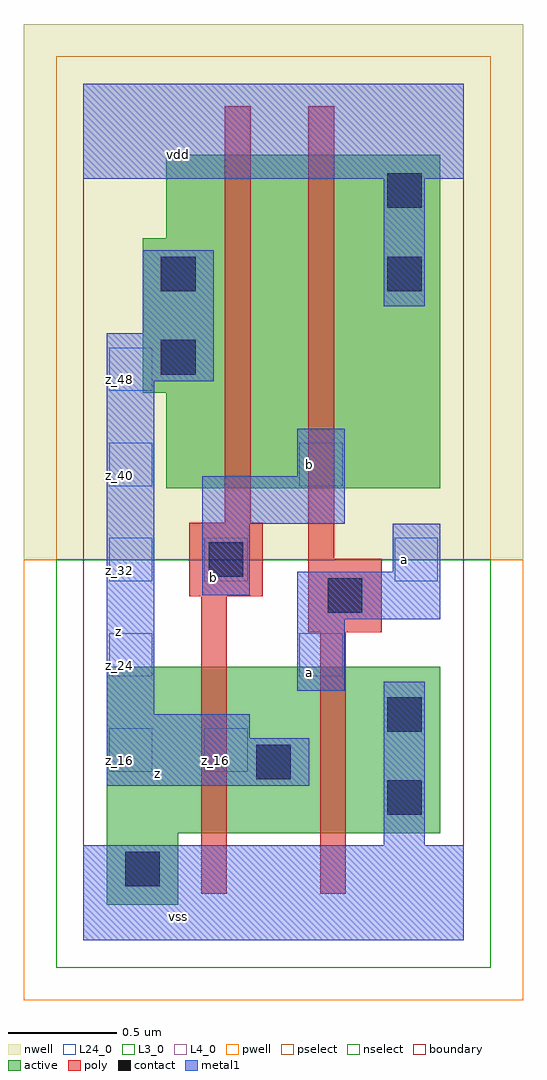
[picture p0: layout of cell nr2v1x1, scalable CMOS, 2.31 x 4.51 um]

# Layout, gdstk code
import gdstk
lib = gdstk.Library(unit=1e-6, precision=2.5e-09)
def R(c, l, rs):  # rectangles x0, y0, x1, y1
    for r in rs: c.add(gdstk.rectangle(r[:2], r[2:], *l))
def A(c, l, x, y, w, h, nx, ny, dx, dy):  # array of equal rectangles
    R(c, l, [(x+i*dx, y+j*dy, x+i*dx+w, y+j*dy+h) for i in range(nx) for j in range(ny)])
L3_0 = (3, 0)
L4_0 = (4, 0)
L24_0 = (24, 0)
contact = (25, 0)
pwell = (41, 0)
nwell = (42, 0)
active = (43, 0)
pselect = (44, 0)
nselect = (45, 0)
poly = (46, 0)
metal1 = (49, 0)
boundary = (63, 0)

nr2v1x1 = lib.new_cell('nr2v1x1')
R(nr2v1x1, L3_0, [(0.11,0.165,0.44,0.495), (0.11,0.495,1.65,1.265)])
R(nr2v1x1, L4_0, [(0.385,2.09,1.65,2.53), (0.275,2.53,1.65,3.245), (0.385,3.245,1.65,3.63)])
A(nr2v1x1, L24_0, 0.12, 0.78, 0.2, 0.2, 1, 5, 0, 0.44)
R(nr2v1x1, L24_0, [(0.56,0.78,0.76,0.98), (1,1.22,1.2,1.42), (0.56,1.66,0.76,1.86), (1.44,1.66,1.64,1.86), (1,2.1,1.2,2.3)])
R(nr2v1x1, contact, [(0.195,0.25,0.355,0.41), (1.405,0.58,1.565,0.74), (0.8,0.745,0.96,0.905), (1.405,0.965,1.565,1.125), (1.13,1.515,1.29,1.675), (0.58,1.68,0.74,1.84), (0.36,2.615,0.52,2.775), (0.36,3,0.52,3.16), (1.405,3,1.565,3.16), (1.405,3.385,1.565,3.545)])
R(nr2v1x1, pwell, [(-0.275,-0.275,2.035,1.76)])
R(nr2v1x1, nwell, [(-0.275,1.76,2.035,4.235)])
R(nr2v1x1, active, [(0.11,0.165,0.44,0.495), (0.11,0.495,1.65,1.265), (0.385,2.09,1.65,2.53), (0.275,2.53,1.65,3.245), (0.385,3.245,1.65,3.63)])
R(nr2v1x1, pselect, [(-0.125,1.76,1.885,4.085)])
R(nr2v1x1, nselect, [(-0.125,-0.125,1.885,1.76)])
R(nr2v1x1, poly, [(0.545,0.215,0.665,1.59), (1.095,0.215,1.215,1.425), (1.04,1.425,1.38,1.765), (0.49,1.59,0.83,1.93), (1.04,1.765,1.16,3.855), (0.655,1.93,0.775,3.855)])
R(nr2v1x1, metal1, [(0,0,1.76,0.44), (1.39,0.44,1.58,1.195), (0.11,0.715,1.045,0.935), (0.11,0.935,0.77,1.045), (0.11,1.045,0.33,2.585), (0.99,1.155,1.21,1.485), (0.99,1.485,1.65,1.705), (0.55,1.595,0.77,1.925), (1.43,1.705,1.65,1.925), (0.55,1.925,1.21,2.145), (0.99,2.145,1.21,2.365), (0.11,2.585,0.605,2.805), (0.275,2.805,0.605,3.19), (1.39,2.93,1.58,3.52), (0,3.52,1.76,3.96)])
R(nr2v1x1, boundary, [(0,0,1.76,3.96)])
nr2v1x1.add(gdstk.Label('vss', (0.44,0.11), layer=49, texttype=0))
nr2v1x1.add(gdstk.Label('z', (0.3425,0.77), layer=49, texttype=0))
nr2v1x1.add(gdstk.Label('a', (1.045,1.2375), layer=49, texttype=0))
nr2v1x1.add(gdstk.Label('a', (1.485,1.76), layer=49, texttype=0))
nr2v1x1.add(gdstk.Label('b', (0.605,1.6775), layer=49, texttype=0))
nr2v1x1.add(gdstk.Label('b', (1.045,2.2), layer=49, texttype=0))
nr2v1x1.add(gdstk.Label('z', (0.165,1.43), layer=49, texttype=0))
nr2v1x1.add(gdstk.Label('vdd', (0.44,3.63), layer=49, texttype=0))
nr2v1x1.add(gdstk.Label('z_16', (0.61,0.83), layer=24, texttype=0))
nr2v1x1.add(gdstk.Label('b_32', (0.61,1.71), layer=24, texttype=0))
nr2v1x1.add(gdstk.Label('a_32', (1.49,1.71), layer=24, texttype=0))
nr2v1x1.add(gdstk.Label('z_24', (0.17,1.27), layer=24, texttype=0))
nr2v1x1.add(gdstk.Label('z_32', (0.17,1.71), layer=24, texttype=0))
nr2v1x1.add(gdstk.Label('z_40', (0.17,2.15), layer=24, texttype=0))
nr2v1x1.add(gdstk.Label('z_48', (0.17,2.59), layer=24, texttype=0))
nr2v1x1.add(gdstk.Label('z_16', (0.17,0.83), layer=24, texttype=0))
nr2v1x1.add(gdstk.Label('a_24', (1.05,1.27), layer=24, texttype=0))
nr2v1x1.add(gdstk.Label('b_40', (1.05,2.15), layer=24, texttype=0))

lib.write_gds('nr2v1x1.gds')
